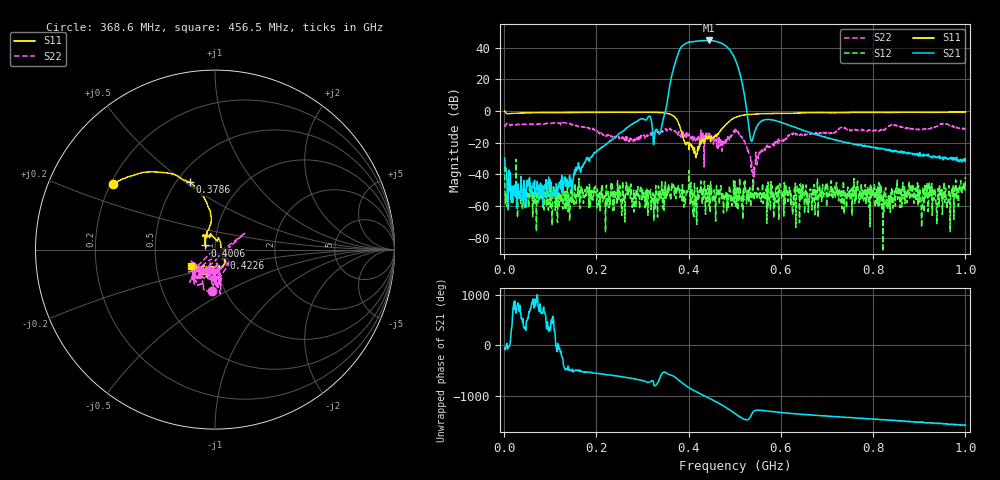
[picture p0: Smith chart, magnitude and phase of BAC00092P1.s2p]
!measured: 2026-10-29T11:16:15
!cal_instance: BB
!cal_created: 2026-10-29T10:46
!cal_file: SOLT_12_1_00M-1_00G_1001pt.cal
!port1_delay_ps: 0.0
!port2_delay_ps: 0.0
!host: lindon
! Created with skrf 2.1.0 (http://scikit-rf.org).
# Hz S RI R 50.0
!freq ReS11 ImS11 ReS21 ImS21 ReS12 ImS12 ReS22 ImS22
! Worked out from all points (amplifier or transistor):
!   1001 points, 1 MHz to 1 GHz, reference 50 ohm
!   highest |S21| = 44.6 dB at 443.6 MHz (marker M1)
!   |S21| within 3 dB of that: 387.7 MHz to 478.4 MHz (90.72 MHz wide, 20.9 % of centre)
!   unconditionally stable (mu >= 1): start of sweep to 400.2 MHz; 401.1 MHz to 426.4 MHz; 447.7 MHz to end of sweep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
!   at 166.8 MHz: K = 1349.87, MAG = -28.6 dB, |S12| = -47.9 dB
!   at 500.5 MHz: K = 1.20, MAG = 36.0 dB, |S12| = -44.5 dB
!   at 1 GHz: K = 254.40, MAG = -21.3 dB, |S12| = -41.7 dB
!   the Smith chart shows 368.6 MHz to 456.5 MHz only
!   S11 on the Smith chart (normalised r, x): 368.6 MHz: 0.21, +0.28; 378.6 MHz: 0.58, +0.52; 400.6 MHz: 0.89, +0.04; 422.6 MHz: 1.10, -0.10; 456.5 MHz: 0.76, -0.14
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1000000  -0.3755 0.9203  0.0207 -0.0259  -0.00732 0.0162  0.3232 -0.00464
1.67833e8  0.5651 -0.7051  -0.0149 -0.00609  0.00274 0.00077  0.00826 -0.3133
3.34666e8  -0.7287 -0.5324  0.2061 0.0131  0.00433 -0.000169  0.0731 -0.2008
3.68632e8  -0.5695 0.3644  -4.106 25.56  -0.00246 -0.000253  -0.018 -0.2332
3.78622e8  -0.1411 0.3754  66.54 32.23  -0.0025 0.00372  -0.1154 -0.1914
3.87613e8  -0.0235 0.1423  93.22 -76.11  -0.000989 0.00155  -0.1171 -0.124
3.94606e8  -0.051 0.0701  7.465 -138.1  -0.00209 0.00124  -0.0877 -0.0974
4.006e8  -0.0566 0.0233  -82.91 -132.5  -0.0127 0.00366  0.165 0.0906
4.11589e8  0.013 0.0461  -157.6 0.1991  -0.000418 -0.000174  -0.0246 -0.1276
4.22578e8  0.0485 -0.0468  -101.4 130.3  -0.000125 0.00177  -0.076 -0.1329
4.32568e8  -0.0225 -0.1209  23.57 166.4  -0.00164 -0.0016  -0.0427 -0.1562
4.43557e8  -0.0883 -0.1085  144.1 90.95  -9e-05 -0.00188  -0.0378 -0.1325
4.5055e8  -0.0912 -0.1051  167.2 -1.977  -0.00149 0.00168  0.0283 -0.1304
4.56544e8  -0.1318 -0.0893  142.4 -79.22  0.00132 0.000157  -0.0315 -0.1136
4.67533e8  -0.2191 -0.0395  15.38 -145  0.00228 -3.35e-05  0.0775 -0.0723
4.79521e8  -0.3127 0.1684  -100.4 -61.04  -0.000728 -0.00176  0.0391 -0.1257
4.9051e8  -0.1879 0.4652  -66.06 46.16  0.00212 -0.00214  -0.0329 -0.1578
5.005e8  0.0915 0.6202  6.883 43.68  -0.00492 0.00338  -0.1577 -0.2218
5.17483e8  0.5485 0.4917  5.655 -2.018  0.000267 -0.000273  -0.1292 -0.0544
6.67333e8  0.3638 -0.8077  0.118 0.1572  0.000672 -0.000333  0.1215 -0.1507
8.34166e8  -0.2011 -0.876  0.0341 -0.0464  0.000927 -0.000218  0.013 -0.3473
1e9  -0.5634 -0.7356  -0.0269 -0.0157  0.00527 -0.00628  -0.0603 -0.2778
